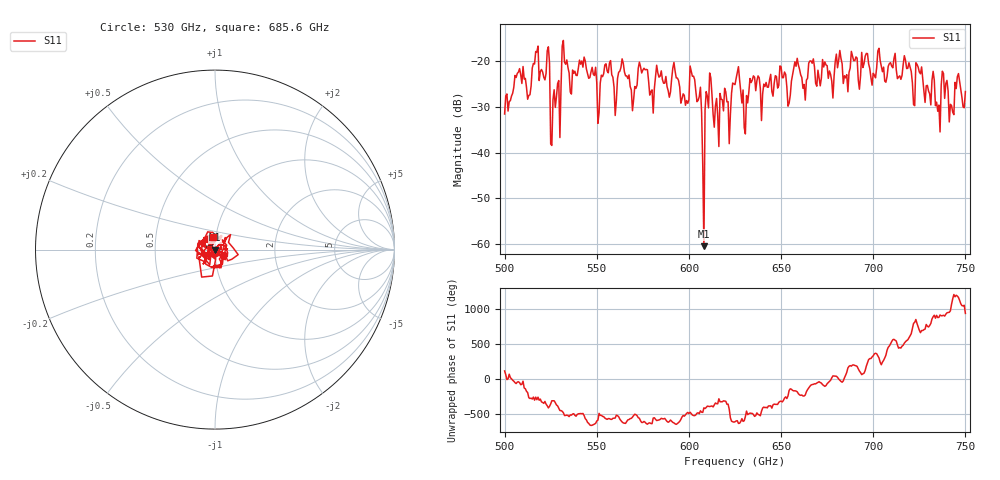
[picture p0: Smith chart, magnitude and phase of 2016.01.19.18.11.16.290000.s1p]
!Created with skrf (http://scikit-rf.org).
# GHz S RI R 50.0
!freq ReS11 ImS11
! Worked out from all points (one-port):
!   401 points, 500 GHz to 750 GHz, reference 50 ohm
!   lowest |S11| = -60.5 dB at 608.1 GHz (marker M1), VSWR 1.00, Z = 50.1 - j0.0681 ohm
!   |S11| at or under -10 dB: start of sweep to end of sweep
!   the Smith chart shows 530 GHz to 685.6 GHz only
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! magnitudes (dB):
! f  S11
! 500 GHz  -31.5
! 506.9 GHz  -22.6
! 513.1 GHz  -27.4
! 516.9 GHz  -17.8
! 523.1 GHz  -17.6
! 526.2 GHz  -28.4
! 531.2 GHz  -16.6
! 542.5 GHz  -21.2
! 551.2 GHz  -31.3
! 562.5 GHz  -22.1
! 570 GHz  -28.3
! 593.8 GHz  -23.6
! 598.8 GHz  -28.6
! 601.9 GHz  -23.2
! 608.1 GHz  -60.5
! 610.6 GHz  -30.2
! 615 GHz  -28.1
! 625 GHz  -25.1
! 631.2 GHz  -27.5
! 634.4 GHz  -24.1
! 656.2 GHz  -22.9
! 687.5 GHz  -21.4
! 718.8 GHz  -21.5
! 735 GHz  -30.9
! 738.8 GHz  -28.1
! 742.5 GHz  -29.7
! 745.6 GHz  -23.3
! 750 GHz  -26.6
